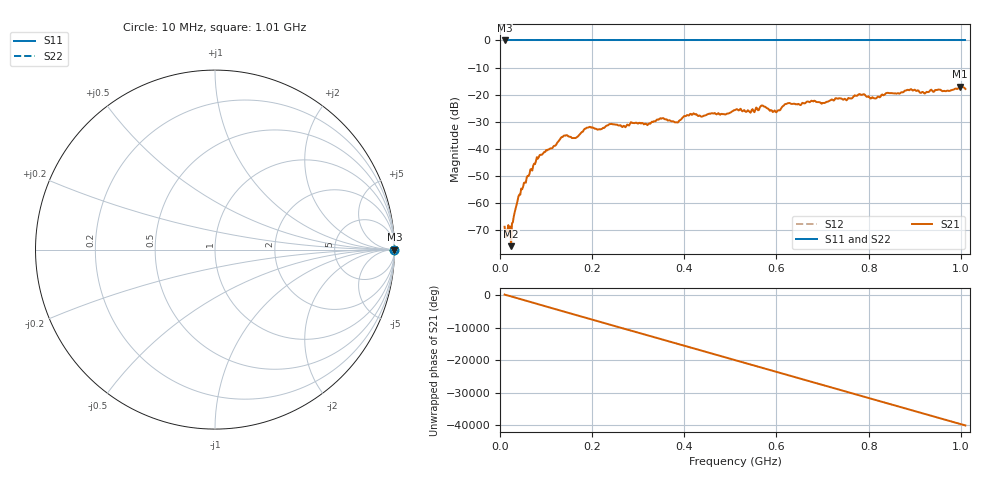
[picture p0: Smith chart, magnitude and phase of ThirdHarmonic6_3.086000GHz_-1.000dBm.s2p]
! 8/17/2025 9:03:51 AM
! C:\ANRITSUVNA\TEMP\TEMP.S2P
! CHANNEL.1
! TR.MEASUREMENT
! RAW.DATA
! RF.CORRECTION.OFF
! AVERAGING.OFF
! IF.BANDWIDTH: 5KHZ
! SWEEPTYPE:  FREQ.SWEEP(Linear)
! Reference Plane Port Info
! PORT:  PORT1  PORT2
! DISTANCE:  0  m  0  m
! TIME:  0  s  0  s
! PHASE.OFFSET:  0  deg.  0  deg.
! LOSS:  0  dB  0  dB
! REF.LOSS:  0  dB  0  dB
! REF.FREQ:  0  Hz  0  Hz
! Power Info
! POWER:  -20  dBm  -20  dBm
! EFF.POWER:  -20  dBm  -20  dBm
! SOURCE.ATTEN:  0  dB  0  dB
! TEST.ATTEN:  0  dB  0  dB
# GHZ S RI R 50.0
! FREQ.GHZ  S11RE  S11IM  S21RE  S21IM  S12RE  S12IM  S22RE  S22IM
!; PortSelection: Port_12
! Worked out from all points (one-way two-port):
!   501 points, 10 MHz to 1.01 GHz, reference 50 ohm
!   highest |S21| = -17.08 dB at 998 MHz (marker M1); lowest = -76.0 dB at 24 MHz (marker M2)
!   lowest |S11| = 0.0 dB at 10 MHz (marker M3)
!   |S11| at or under -10 dB: nowhere
!   |S22| runs from 0.0 to 0.0 dB; largest |S21 - S12| = 1.1
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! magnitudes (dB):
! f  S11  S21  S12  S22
! 10 MHz  0.0  -68.8  0.0  0.0
! 24 MHz  0.0  -76.0  0.0  0.0
! 42 MHz  0.0  -56.9  0.0  0.0
! 82 MHz  0.0  -43.7  0.0  0.0
! 136 MHz  0.0  -35.6  0.0  0.0
! 162 MHz  0.0  -36.0  0.0  0.0
! 178 MHz  0.0  -33.8  0.0  0.0
! 192 MHz  0.0  -32.2  0.0  0.0
! 344 MHz  0.0  -29.2  0.0  0.0
! 382 MHz  0.0  -30.2  0.0  0.0
! 416 MHz  0.0  -27.5  0.0  0.0
! 510 MHz  0.0  -25.7  0.0  0.0
! 548 MHz  0.0  -25.4  0.0  0.0
! 570 MHz  0.0  -24.1  0.0  0.0
! 596 MHz  0.0  -25.8  0.0  0.0
! 624 MHz  0.0  -23.2  0.0  0.0
! 678 MHz  0.0  -22.4  0.0  0.0
! 782 MHz  0.0  -19.9  0.0  0.0
! 814 MHz  0.0  -21.4  0.0  0.0
! 844 MHz  0.0  -19.4  0.0  0.0
! 998 MHz  0.0  -17.1  0.0  0.0
! 1.01 GHz  0.0  -17.9  0.0  0.0
